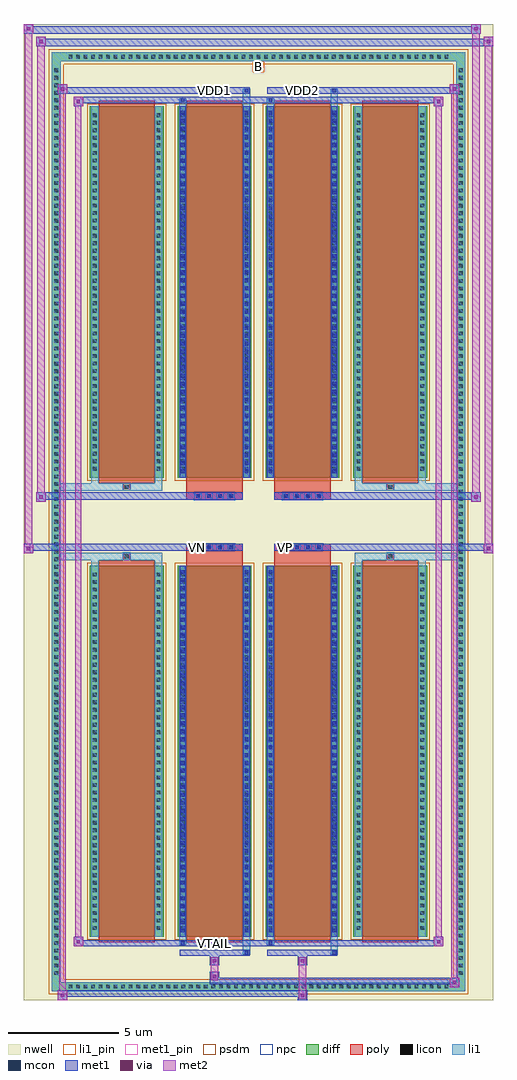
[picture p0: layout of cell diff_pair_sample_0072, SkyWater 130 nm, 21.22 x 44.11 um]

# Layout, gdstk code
import gdstk
lib = gdstk.Library(unit=1e-6, precision=5e-09)
def R(c, l, rs):  # rectangles x0, y0, x1, y1
    for r in rs: c.add(gdstk.rectangle(r[:2], r[2:], *l))
def A(c, l, x, y, w, h, nx, ny, dx, dy):  # array of equal rectangles
    R(c, l, [(x+i*dx, y+j*dy, x+i*dx+w, y+j*dy+h) for i in range(nx) for j in range(ny)])
def P(c, l, *ps):  # polygons
    for p in ps: c.add(gdstk.Polygon(p, *l))
nwell = (64, 20)
diff = (65, 20)
poly = (66, 20)
licon = (66, 44)
li1_pin = (67, 16)
li1 = (67, 20)
mcon = (67, 44)
met1_pin = (68, 16)
met1 = (68, 20)
via = (68, 44)
met2 = (69, 20)
psdm = (94, 20)
npc = (95, 20)

diff_pair_sample_0072 = lib.new_cell('diff_pair_sample_0072')
R(diff_pair_sample_0072, nwell, [(-10.61,-21.62,10.61,22.49), (-7.93,-19.81,-0.01,-0.795), (0.01,-19.81,7.93,-0.795), (-7.93,0.795,-0.01,19.81), (0.01,0.795,7.93,19.81)])
A(diff_pair_sample_0072, diff, -8.705, -21.22, 0.41, 0.41, 51, 2, 0.34, 42.03)
A(diff_pair_sample_0072, diff, -9.34, -20.605, 0.41, 0.41, 1, 121, 0, 0.34)
A(diff_pair_sample_0072, diff, 8.93, -20.605, 0.41, 0.41, 1, 121, 0, 0.34)
A(diff_pair_sample_0072, diff, -7.62, -18.765, 3.33, 16.78, 4, 2, 3.97, 20.75)
R(diff_pair_sample_0072, diff, [(-8.705,-21.22,8.705,-20.81), (-9.34,-20.605,-8.93,20.605), (8.93,-20.605,9.34,20.605), (-8.705,20.81,8.705,21.22)])
P(diff_pair_sample_0072, diff, [(9.34,21.22),(-9.34,21.22),(-9.34,-20.81),(-8.93,-20.81),(-8.93,20.81),(8.93,20.81),(8.93,-20.81),(-8.93,-20.81),(-9.34,-20.81),(-9.34,-21.22),(9.34,-21.22)])
A(diff_pair_sample_0072, poly, -7.23, -19.015, 2.55, 17.28, 4, 2, 3.97, 20.75)
A(diff_pair_sample_0072, poly, -2.9, -1.325, 0.33, 0.33, 4, 2, 0.5, 2.32)
A(diff_pair_sample_0072, poly, 1.07, -1.325, 0.33, 0.33, 4, 2, 0.5, 2.32)
R(diff_pair_sample_0072, poly, [(-6.12,-1.735,-5.79,-1.405), (-6.12,-1.735,-5.79,-1.405), (-3.26,-1.735,-0.71,-1.325), (0.71,-1.735,3.26,-1.325), (5.79,-1.735,6.12,-1.405), (5.79,-1.735,6.12,-1.405), (-3.26,-1.325,-0.71,-0.995), (0.71,-1.325,3.26,-0.995), (-3.26,0.995,-0.71,1.325), (0.71,0.995,3.26,1.325), (-3.26,1.325,-0.71,1.735), (0.71,1.325,3.26,1.735), (-6.12,1.405,-5.79,1.735), (-6.12,1.405,-5.79,1.735), (5.79,1.405,6.12,1.735), (5.79,1.405,6.12,1.735)])
A(diff_pair_sample_0072, licon, -8.585, -21.1, 0.17, 0.17, 51, 2, 0.34, 42.03)
A(diff_pair_sample_0072, licon, -9.22, -20.485, 0.17, 0.17, 1, 121, 0, 0.34)
A(diff_pair_sample_0072, licon, 9.05, -20.485, 0.17, 0.17, 1, 121, 0, 0.34)
A(diff_pair_sample_0072, licon, -7.48, -18.45, 0.17, 0.17, 1, 48, 0, 0.34)
A(diff_pair_sample_0072, licon, -4.6, -18.45, 0.17, 0.17, 1, 48, 0, 0.34)
A(diff_pair_sample_0072, licon, -3.51, -18.45, 0.17, 0.17, 1, 48, 0, 0.34)
A(diff_pair_sample_0072, licon, -0.63, -18.45, 0.17, 0.17, 1, 48, 0, 0.34)
A(diff_pair_sample_0072, licon, 0.46, -18.45, 0.17, 0.17, 1, 48, 0, 0.34)
A(diff_pair_sample_0072, licon, 3.34, -18.45, 0.17, 0.17, 1, 48, 0, 0.34)
A(diff_pair_sample_0072, licon, 4.43, -18.45, 0.17, 0.17, 1, 48, 0, 0.34)
A(diff_pair_sample_0072, licon, 7.31, -18.45, 0.17, 0.17, 1, 48, 0, 0.34)
A(diff_pair_sample_0072, licon, -2.82, -1.245, 0.17, 0.17, 4, 2, 0.5, 2.32)
A(diff_pair_sample_0072, licon, 1.15, -1.245, 0.17, 0.17, 4, 2, 0.5, 2.32)
A(diff_pair_sample_0072, licon, -7.48, 2.3, 0.17, 0.17, 1, 48, 0, 0.34)
A(diff_pair_sample_0072, licon, -4.6, 2.3, 0.17, 0.17, 1, 48, 0, 0.34)
A(diff_pair_sample_0072, licon, -3.51, 2.3, 0.17, 0.17, 1, 48, 0, 0.34)
A(diff_pair_sample_0072, licon, -0.63, 2.3, 0.17, 0.17, 1, 48, 0, 0.34)
A(diff_pair_sample_0072, licon, 0.46, 2.3, 0.17, 0.17, 1, 48, 0, 0.34)
A(diff_pair_sample_0072, licon, 3.34, 2.3, 0.17, 0.17, 1, 48, 0, 0.34)
A(diff_pair_sample_0072, licon, 4.43, 2.3, 0.17, 0.17, 1, 48, 0, 0.34)
A(diff_pair_sample_0072, licon, 7.31, 2.3, 0.17, 0.17, 1, 48, 0, 0.34)
R(diff_pair_sample_0072, licon, [(-6.04,-1.655,-5.87,-1.485), (5.87,-1.655,6.04,-1.485), (-6.04,1.485,-5.87,1.655), (5.87,1.485,6.04,1.655)])
R(diff_pair_sample_0072, li1_pin, [(-0.25,20.31,0.25,20.81)])
A(diff_pair_sample_0072, li1, -8.665, -21.18, 0.33, 0.33, 51, 2, 0.34, 42.03)
A(diff_pair_sample_0072, li1, -9.3, -20.565, 0.33, 0.33, 1, 121, 0, 0.34)
A(diff_pair_sample_0072, li1, 8.97, -20.565, 0.33, 0.33, 1, 121, 0, 0.34)
A(diff_pair_sample_0072, li1, -3.51, -18.56, 0.17, 0.17, 1, 46, 0, 0.36)
A(diff_pair_sample_0072, li1, -0.63, -18.56, 0.17, 0.17, 1, 46, 0, 0.36)
A(diff_pair_sample_0072, li1, 0.46, -18.56, 0.17, 0.17, 1, 46, 0, 0.36)
A(diff_pair_sample_0072, li1, 3.34, -18.56, 0.17, 0.17, 1, 46, 0, 0.36)
A(diff_pair_sample_0072, li1, -7.56, -18.53, 0.33, 0.33, 1, 48, 0, 0.34)
A(diff_pair_sample_0072, li1, -4.68, -18.53, 0.33, 0.33, 1, 48, 0, 0.34)
A(diff_pair_sample_0072, li1, -3.59, -18.53, 0.33, 0.33, 1, 48, 0, 0.34)
A(diff_pair_sample_0072, li1, -0.71, -18.53, 0.33, 0.33, 1, 48, 0, 0.34)
A(diff_pair_sample_0072, li1, 0.38, -18.53, 0.33, 0.33, 1, 48, 0, 0.34)
A(diff_pair_sample_0072, li1, 3.26, -18.53, 0.33, 0.33, 1, 48, 0, 0.34)
A(diff_pair_sample_0072, li1, 4.35, -18.53, 0.33, 0.33, 1, 48, 0, 0.34)
A(diff_pair_sample_0072, li1, 7.23, -18.53, 0.33, 0.33, 1, 48, 0, 0.34)
A(diff_pair_sample_0072, li1, -2.9, -1.325, 0.33, 0.33, 4, 2, 0.5, 2.32)
A(diff_pair_sample_0072, li1, 1.07, -1.325, 0.33, 0.33, 4, 2, 0.5, 2.32)
A(diff_pair_sample_0072, li1, -3.51, 2.19, 0.17, 0.17, 1, 46, 0, 0.36)
A(diff_pair_sample_0072, li1, -0.63, 2.19, 0.17, 0.17, 1, 46, 0, 0.36)
A(diff_pair_sample_0072, li1, 0.46, 2.19, 0.17, 0.17, 1, 46, 0, 0.36)
A(diff_pair_sample_0072, li1, 3.34, 2.19, 0.17, 0.17, 1, 46, 0, 0.36)
A(diff_pair_sample_0072, li1, -7.56, 2.22, 0.33, 0.33, 1, 48, 0, 0.34)
A(diff_pair_sample_0072, li1, -4.68, 2.22, 0.33, 0.33, 1, 48, 0, 0.34)
A(diff_pair_sample_0072, li1, -3.59, 2.22, 0.33, 0.33, 1, 48, 0, 0.34)
A(diff_pair_sample_0072, li1, -0.71, 2.22, 0.33, 0.33, 1, 48, 0, 0.34)
A(diff_pair_sample_0072, li1, 0.38, 2.22, 0.33, 0.33, 1, 48, 0, 0.34)
A(diff_pair_sample_0072, li1, 3.26, 2.22, 0.33, 0.33, 1, 48, 0, 0.34)
A(diff_pair_sample_0072, li1, 4.35, 2.22, 0.33, 0.33, 1, 48, 0, 0.34)
A(diff_pair_sample_0072, li1, 7.23, 2.22, 0.33, 0.33, 1, 48, 0, 0.34)
R(diff_pair_sample_0072, li1, [(-9.34,-21.22,-8.93,-20.81), (-9.34,-21.22,-8.93,-20.81), (-8.93,-21.22,8.93,-20.81), (8.93,-21.22,9.34,-20.81), (8.93,-21.22,9.34,-20.81), (-9.34,-20.81,-8.93,20.81), (8.93,-20.81,9.34,20.81), (-0.71,-19.57,-0.38,-18.765), (-0.63,-19.57,-0.46,-19.4), (3.26,-19.57,3.59,-18.765), (3.34,-19.57,3.51,-19.4), (-3.59,-19.14,-3.26,-18.765), (-3.51,-19.14,-3.34,-18.97), (0.38,-19.14,0.71,-18.765), (0.46,-19.14,0.63,-18.97), (-7.56,-18.765,-7.23,-1.985), (-4.68,-18.765,-4.35,-1.985), (-3.59,-18.765,-3.26,-1.985), (-0.71,-18.765,-0.38,-1.985), (0.38,-18.765,0.71,-1.985), (3.26,-18.765,3.59,-1.985), (4.35,-18.765,4.68,-1.985), (7.23,-18.765,7.56,-1.985), (-3.51,-18.56,-3.34,-2.19), (-0.63,-18.56,-0.46,-2.19), (0.46,-18.56,0.63,-2.19), (3.34,-18.56,3.51,-2.19), (-7.56,-1.985,-7.23,-1.405), (-4.68,-1.985,-4.35,-1.405), (4.35,-1.985,4.68,-1.405), (7.23,-1.985,7.56,-1.405), (-9.34,-1.735,-6.12,-1.405), (-7.56,-1.735,-6.12,-1.405), (-6.12,-1.735,-5.79,-1.405), (-5.79,-1.735,-4.35,-1.405), (4.35,-1.735,5.79,-1.405), (5.79,-1.735,6.12,-1.405), (5.79,-1.735,9.34,-1.405), (6.12,-1.735,7.56,-1.405), (-9.34,1.405,-6.12,1.735), (-7.56,1.405,-6.12,1.735), (-7.56,1.405,-7.23,1.985), (-6.12,1.405,-5.79,1.735), (-5.79,1.405,-4.35,1.735), (-4.68,1.405,-4.35,1.985), (4.35,1.405,5.79,1.735), (4.35,1.405,4.68,1.985), (5.79,1.405,6.12,1.735), (5.79,1.405,9.34,1.735), (6.12,1.405,7.56,1.735), (7.23,1.405,7.56,1.985), (-7.56,1.985,-7.23,18.765), (-4.68,1.985,-4.35,18.765), (-3.59,1.985,-3.26,18.765), (-0.71,1.985,-0.38,18.765), (0.38,1.985,0.71,18.765), (3.26,1.985,3.59,18.765), (4.35,1.985,4.68,18.765), (7.23,1.985,7.56,18.765), (-3.51,2.19,-3.34,18.56), (-0.63,2.19,-0.46,18.56), (0.46,2.19,0.63,18.56), (3.34,2.19,3.51,18.56), (-3.59,18.765,-3.26,19.14), (-0.71,18.765,-0.38,19.57), (0.38,18.765,0.71,19.14), (3.26,18.765,3.59,19.57), (-3.51,18.97,-3.34,19.14), (0.46,18.97,0.63,19.14), (-0.63,19.4,-0.46,19.57), (3.34,19.4,3.51,19.57), (-9.34,20.81,-8.93,21.22), (-9.34,20.81,-8.93,21.22), (-8.93,20.81,8.93,21.22), (8.93,20.81,9.34,21.22), (8.93,20.81,9.34,21.22)])
A(diff_pair_sample_0072, mcon, -3.51, -18.56, 0.17, 0.17, 1, 46, 0, 0.36)
A(diff_pair_sample_0072, mcon, -0.63, -18.56, 0.17, 0.17, 1, 46, 0, 0.36)
A(diff_pair_sample_0072, mcon, 0.46, -18.56, 0.17, 0.17, 1, 46, 0, 0.36)
A(diff_pair_sample_0072, mcon, 3.34, -18.56, 0.17, 0.17, 1, 46, 0, 0.36)
A(diff_pair_sample_0072, mcon, -2.82, -1.245, 0.17, 0.17, 4, 2, 0.5, 2.32)
A(diff_pair_sample_0072, mcon, 1.15, -1.245, 0.17, 0.17, 4, 2, 0.5, 2.32)
A(diff_pair_sample_0072, mcon, -3.51, 2.19, 0.17, 0.17, 1, 46, 0, 0.36)
A(diff_pair_sample_0072, mcon, -0.63, 2.19, 0.17, 0.17, 1, 46, 0, 0.36)
A(diff_pair_sample_0072, mcon, 0.46, 2.19, 0.17, 0.17, 1, 46, 0, 0.36)
A(diff_pair_sample_0072, mcon, 3.34, 2.19, 0.17, 0.17, 1, 46, 0, 0.36)
R(diff_pair_sample_0072, mcon, [(-0.63,-19.57,-0.46,-19.4), (3.34,-19.57,3.51,-19.4), (-3.51,-19.14,-3.34,-18.97), (0.46,-19.14,0.63,-18.97), (-3.51,18.97,-3.34,19.14), (0.46,18.97,0.63,19.14), (-0.63,19.4,-0.46,19.57), (3.34,19.4,3.51,19.57)])
R(diff_pair_sample_0072, met1_pin, [(-2.12,-19.18,-1.85,-18.91), (-2.87,-1.285,-2.6,-1.015), (1.1,-1.285,1.37,-1.015), (-2.12,19.36,-1.85,19.63), (1.85,19.36,2.12,19.63)])
A(diff_pair_sample_0072, met1, -3.57, -18.62, 0.29, 0.29, 1, 46, 0, 0.36)
A(diff_pair_sample_0072, met1, -0.69, -18.62, 0.29, 0.29, 1, 46, 0, 0.36)
A(diff_pair_sample_0072, met1, 0.4, -18.62, 0.29, 0.29, 1, 46, 0, 0.36)
A(diff_pair_sample_0072, met1, 3.28, -18.62, 0.29, 0.29, 1, 46, 0, 0.36)
A(diff_pair_sample_0072, met1, -2.88, -1.305, 0.29, 0.29, 4, 2, 0.5, 2.32)
A(diff_pair_sample_0072, met1, 1.09, -1.305, 0.29, 0.29, 4, 2, 0.5, 2.32)
A(diff_pair_sample_0072, met1, -3.57, 2.13, 0.29, 0.29, 1, 46, 0, 0.36)
A(diff_pair_sample_0072, met1, -0.69, 2.13, 0.29, 0.29, 1, 46, 0, 0.36)
A(diff_pair_sample_0072, met1, 0.4, 2.13, 0.29, 0.29, 1, 46, 0, 0.36)
A(diff_pair_sample_0072, met1, 3.28, 2.13, 0.29, 0.29, 1, 46, 0, 0.36)
R(diff_pair_sample_0072, met1, [(-9.07,-21.62,-8.64,-21.19), (1.77,-21.62,2.2,-21.19), (-9.07,-21.48,2.2,-21.19), (8.64,-21.05,9.07,-20.62), (-2.2,-20.91,9.07,-20.62), (-2.2,-20.77,-1.77,-20.34), (-2.2,-20.06,-1.77,-19.63), (1.77,-20.06,2.2,-19.63), (-3.57,-19.63,-0.4,-19.34), (-0.69,-19.63,-0.4,-19.34), (0.4,-19.63,3.57,-19.34), (3.28,-19.63,3.57,-19.34), (-8.36,-19.2,-7.93,-18.77), (-8.36,-19.2,-3.57,-18.91), (-3.57,-19.2,-3.28,-18.91), (-3.57,-19.2,-0.4,-18.91), (-0.4,-19.2,0.4,-18.91), (0.4,-19.2,0.69,-18.91), (0.4,-19.2,3.57,-18.91), (3.57,-19.2,8.36,-18.91), (7.93,-19.2,8.36,-18.77), (-3.57,-18.765,-3.28,-1.985), (-0.69,-18.765,-0.4,-1.985), (0.4,-18.765,0.69,-1.985), (3.28,-18.765,3.57,-1.985), (-10.61,-1.425,-10.18,-0.995), (10.18,-1.425,10.61,-0.995), (-10.61,-1.325,-0.71,-0.995), (-3.26,-1.325,-0.71,-0.995), (0.71,-1.325,3.26,-0.995), (0.71,-1.325,10.61,-0.995), (-10.04,0.895,-9.61,1.325), (9.61,0.895,10.04,1.325), (-10.04,0.995,-3.26,1.325), (-3.26,0.995,-0.71,1.325), (0.71,0.995,3.26,1.325), (3.26,0.995,10.04,1.325), (-3.57,1.985,-3.28,18.765), (-0.69,1.985,-0.4,18.765), (0.4,1.985,0.69,18.765), (3.28,1.985,3.57,18.765), (-8.36,18.77,-7.93,19.2), (7.93,18.77,8.36,19.2), (-8.36,18.91,-3.57,19.2), (-3.57,18.91,-3.28,19.2), (-3.57,18.91,-0.4,19.2), (-0.4,18.91,0.4,19.2), (0.4,18.91,0.69,19.2), (0.4,18.91,3.57,19.2), (3.57,18.91,8.36,19.2), (-9.07,19.34,-8.64,19.77), (-9.07,19.34,-3.57,19.63), (-3.57,19.34,-0.4,19.63), (-0.69,19.34,-0.4,19.63), (0.4,19.34,3.57,19.63), (3.28,19.34,3.57,19.63), (3.57,19.34,9.07,19.63), (8.64,19.34,9.07,19.77), (-10.04,21.49,-9.61,21.92), (-10.04,21.49,-7.93,21.82), (-7.93,21.49,7.93,21.82), (7.93,21.49,10.61,21.82), (10.18,21.49,10.61,21.92), (-10.61,22.06,-10.18,22.49), (-10.61,22.06,-7.93,22.39), (-7.93,22.06,7.93,22.39), (7.93,22.06,10.04,22.39), (9.61,22.06,10.04,22.49)])
R(diff_pair_sample_0072, via, [(-8.93,-21.48,-8.78,-21.33), (1.91,-21.48,2.06,-21.33), (8.78,-20.91,8.93,-20.76), (-2.06,-20.63,-1.91,-20.48), (-2.06,-19.92,-1.91,-19.77), (1.91,-19.92,2.06,-19.77), (-8.22,-19.06,-8.07,-18.91), (8.07,-19.06,8.22,-18.91), (-10.47,-1.285,-10.32,-1.135), (10.32,-1.285,10.47,-1.135), (-9.9,1.035,-9.75,1.185), (9.75,1.035,9.9,1.185), (-8.22,18.91,-8.07,19.06), (8.07,18.91,8.22,19.06), (-8.93,19.48,-8.78,19.63), (8.78,19.48,8.93,19.63), (-9.9,21.63,-9.75,21.78), (10.32,21.63,10.47,21.78), (-10.47,22.2,-10.32,22.35), (9.75,22.2,9.9,22.35)])
R(diff_pair_sample_0072, met2, [(-9.07,-21.62,-8.64,-21.19), (-9,-21.62,-8.71,19.77), (-8.71,-21.62,-8.64,-21.19), (-9.02,-21.57,-8.69,-21.24), (1.82,-21.57,2.15,-21.24), (1.82,-21.24,2.15,-20.01), (8.64,-21.05,9.07,-20.62), (8.71,-21.05,9,19.77), (9,-21.05,9.07,-20.62), (8.69,-21,9.02,-20.67), (-2.15,-20.72,-1.82,-20.39), (-2.15,-20.39,-1.82,-20.01), (-2.15,-20.01,-1.82,-19.68), (1.82,-20.01,2.15,-19.68), (-8.36,-19.2,-7.93,-18.77), (-8.29,-19.2,-8,19.2), (-8,-19.2,-7.93,-18.77), (7.93,-19.2,8.36,-18.77), (8,-19.2,8.29,19.2), (8.29,-19.2,8.36,-18.77), (-8.31,-19.15,-7.98,-18.82), (7.98,-19.15,8.31,-18.82), (-10.61,-1.425,-10.18,-0.995), (-10.56,-1.425,-10.23,22.49), (-10.23,-1.425,-10.18,-0.995), (10.18,-1.425,10.61,-0.995), (10.23,-1.425,10.56,21.92), (10.56,-1.425,10.61,-0.995), (-10.56,-1.375,-10.23,-1.045), (10.23,-1.375,10.56,-1.045), (-10.04,0.895,-9.61,1.325), (-9.99,0.895,-9.66,21.92), (-9.66,0.895,-9.61,1.325), (9.61,0.895,10.04,1.325), (9.66,0.895,9.99,22.49), (9.99,0.895,10.04,1.325), (-9.99,0.945,-9.66,1.275), (9.66,0.945,9.99,1.275), (-8.36,18.77,-7.93,19.2), (-8,18.77,-7.93,19.2), (7.93,18.77,8.36,19.2), (8.29,18.77,8.36,19.2), (-8.31,18.82,-7.98,19.15), (7.98,18.82,8.31,19.15), (-9.07,19.34,-8.64,19.77), (-8.71,19.34,-8.64,19.77), (8.64,19.34,9.07,19.77), (9,19.34,9.07,19.77), (-9.02,19.39,-8.69,19.72), (8.69,19.39,9.02,19.72), (-10.04,21.49,-9.61,21.92), (-9.66,21.49,-9.61,21.92), (10.18,21.49,10.61,21.92), (10.56,21.49,10.61,21.92), (-9.99,21.54,-9.66,21.87), (10.23,21.54,10.56,21.87), (-10.61,22.06,-10.18,22.49), (-10.23,22.06,-10.18,22.49), (9.61,22.06,10.04,22.49), (9.99,22.06,10.04,22.49), (-10.56,22.11,-10.23,22.44), (9.66,22.11,9.99,22.44)])
A(diff_pair_sample_0072, psdm, -7.75, -18.895, 3.59, 17.04, 4, 2, 3.97, 20.75)
P(diff_pair_sample_0072, psdm, [(9.47,21.35),(-9.47,21.35),(-9.47,-20.68),(-8.8,-20.68),(-8.8,20.68),(8.8,20.68),(8.8,-20.68),(-8.8,-20.68),(-9.47,-20.68),(-9.47,-21.35),(9.47,-21.35)])
A(diff_pair_sample_0072, npc, -2.92, -1.345, 0.37, 0.37, 4, 2, 0.5, 2.32)
A(diff_pair_sample_0072, npc, 1.05, -1.345, 0.37, 0.37, 4, 2, 0.5, 2.32)
R(diff_pair_sample_0072, npc, [(-6.14,-1.755,-5.77,-1.385), (5.77,-1.755,6.14,-1.385), (-2.92,-1.345,-2.05,-0.975), (-2.92,-1.345,-2.05,-0.975), (-2.42,-1.345,-1.55,-0.975), (-2.42,-1.345,-1.55,-0.975), (-1.92,-1.345,-1.05,-0.975), (-1.92,-1.345,-1.05,-0.975), (1.05,-1.345,1.92,-0.975), (1.05,-1.345,1.92,-0.975), (1.55,-1.345,2.42,-0.975), (1.55,-1.345,2.42,-0.975), (2.05,-1.345,2.92,-0.975), (2.05,-1.345,2.92,-0.975), (-2.92,0.975,-2.05,1.345), (-2.92,0.975,-2.05,1.345), (-2.42,0.975,-1.55,1.345), (-2.42,0.975,-1.55,1.345), (-1.92,0.975,-1.05,1.345), (-1.92,0.975,-1.05,1.345), (1.05,0.975,1.92,1.345), (1.05,0.975,1.92,1.345), (1.55,0.975,2.42,1.345), (1.55,0.975,2.42,1.345), (2.05,0.975,2.92,1.345), (2.05,0.975,2.92,1.345), (-6.14,1.385,-5.77,1.755), (5.77,1.385,6.14,1.755)])
diff_pair_sample_0072.add(gdstk.Label('VTAIL', (-1.985,-19.045), layer=68, texttype=5))
diff_pair_sample_0072.add(gdstk.Label('VN', (-2.735,-1.15), layer=68, texttype=5))
diff_pair_sample_0072.add(gdstk.Label('VP', (1.235,-1.15), layer=68, texttype=5))
diff_pair_sample_0072.add(gdstk.Label('B', (0,20.56), layer=67, texttype=5))
diff_pair_sample_0072.add(gdstk.Label('VDD2', (1.985,19.495), layer=68, texttype=5))
diff_pair_sample_0072.add(gdstk.Label('VDD1', (-1.985,19.495), layer=68, texttype=5))

lib.write_gds('diff_pair_sample_0072.gds')
